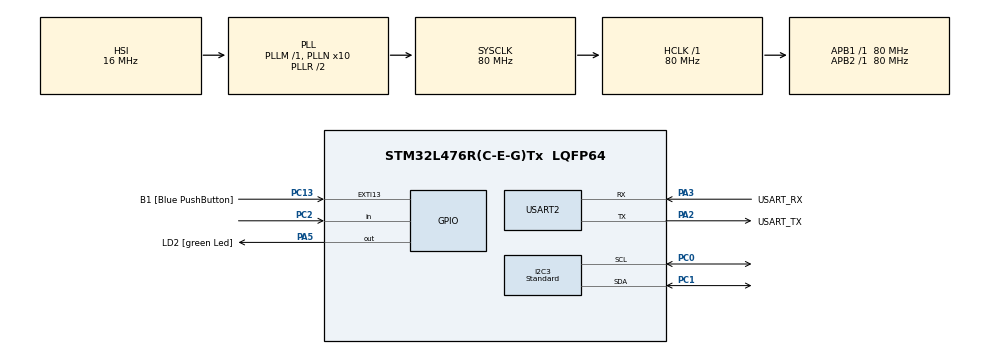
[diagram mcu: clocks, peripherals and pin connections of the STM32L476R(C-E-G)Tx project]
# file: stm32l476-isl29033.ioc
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I2C3.I2C_Speed_Mode=I2C_Standard
I2C3.Timing=0x10909CEC
Mcu.Family=STM32L4
Mcu.Name=STM32L476R(C-E-G)Tx
Mcu.Package=LQFP64
NVIC.PriorityGroup=NVIC_PRIORITYGROUP_4
PA13\ (JTMS-SWDIO).GPIO_Label=TMS
PA13\ (JTMS-SWDIO).Mode=Serial_Wire
PA13\ (JTMS-SWDIO).Signal=SYS_JTMS-SWDIO
PA14\ (JTCK-SWCLK).GPIO_Label=TCK
PA14\ (JTCK-SWCLK).Mode=Serial_Wire
PA14\ (JTCK-SWCLK).Signal=SYS_JTCK-SWCLK
PA2.GPIO_Label=USART_TX
PA2.GPIO_Mode=GPIO_MODE_AF_PP
PA2.GPIO_PuPd=GPIO_NOPULL
PA2.GPIO_Speed=GPIO_SPEED_FREQ_VERY_HIGH
PA2.Mode=Asynchronous
PA2.Signal=USART2_TX
PA3.GPIO_Label=USART_RX
PA3.GPIO_Mode=GPIO_MODE_AF_PP
PA3.GPIO_PuPd=GPIO_NOPULL
PA3.GPIO_Speed=GPIO_SPEED_FREQ_VERY_HIGH
PA3.Mode=Asynchronous
PA3.Signal=USART2_RX
PA5.GPIO_Label=LD2 [green Led]
PA5.GPIO_ModeDefaultOutputPP=GPIO_MODE_OUTPUT_PP
PA5.GPIO_PuPd=GPIO_NOPULL
PA5.GPIO_Speed=GPIO_SPEED_FREQ_LOW
PA5.Signal=GPIO_Output
PB3\ (JTDO-TRACESWO).GPIO_Label=SWO
PB3\ (JTDO-TRACESWO).Signal=SYS_JTDO-SWO
PC0.Mode=I2C
PC0.Signal=I2C3_SCL
PC1.Mode=I2C
PC1.Signal=I2C3_SDA
PC13.GPIO_Label=B1 [Blue PushButton]
PC13.GPIO_ModeDefaultEXTI=GPIO_MODE_IT_FALLING
PC13.GPIO_PuPd=GPIO_NOPULL
PC13.Signal=GPXTI13
PC14-OSC32_IN\ (PC14).Mode=LSE-External-Oscillator
PC14-OSC32_IN\ (PC14).Signal=RCC_OSC32_IN
PC15-OSC32_OUT\ (PC15).Mode=LSE-External-Oscillator
PC15-OSC32_OUT\ (PC15).Signal=RCC_OSC32_OUT
PC2.GPIO_PuPd=GPIO_PULLUP
PC2.Signal=GPIO_Input
PH0-OSC_IN\ (PH0).Signal=RCC_OSC_IN
PH1-OSC_OUT\ (PH1).Signal=RCC_OSC_OUT
ProjectManager.HeapSize=0x200
ProjectManager.StackSize=0x400
ProjectManager.TargetToolchain=STM32CubeIDE
RCC.ADCFreq_Value=64000000
RCC.AHBFreq_Value=80000000
RCC.APB1Freq_Value=80000000
RCC.APB1TimFreq_Value=80000000
RCC.APB2Freq_Value=80000000
RCC.APB2TimFreq_Value=80000000
RCC.CortexFreq_Value=80000000
RCC.HCLKFreq_Value=80000000
RCC.HSE_VALUE=8000000
RCC.HSI_VALUE=16000000
RCC.MSI_VALUE=4000000
RCC.PLLN=10
RCC.PLLSourceVirtual=RCC_PLLSOURCE_HSI
RCC.PREFETCH_ENABLE=1
RCC.SYSCLKFreq_VALUE=80000000
RCC.SYSCLKSource=RCC_SYSCLKSOURCE_PLLCLK
RCC.USBFreq_Value=64000000
RCC.VCOOutputFreq_Value=160000000
USART2.VirtualMode-Asynchronous=VM_ASYNC
board=NUCLEO-L476RG

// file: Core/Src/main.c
/* USER CODE BEGIN Header */
/**
  ******************************************************************************
  * @file           : main.c
  * @brief          : Main program body
  ******************************************************************************
  * @attention
  *
  * <h2><center>&copy; Copyright (c) 2021 STMicroelectronics.
  * All rights reserved.</center></h2>
  *
  * This software component is licensed by ST under BSD 3-Clause license,
  * the "License"; You may not use this file except in compliance with the
  * License. You may obtain a copy of the License at:
  *                        opensource.org/licenses/BSD-3-Clause
  *
  ******************************************************************************
  */
/* USER CODE END Header */
#include "main.h"

/* USER CODE BEGIN Includes */
#include "isl29033.h"
#include "string.h"
/* USER CODE END Includes */

/* USER CODE BEGIN PTD */

#define RESOLUTION 16

#if RESOLUTION == 16
#define DELAY_MSB 100

#elif RESOLUTION == 12
#define DELAY_MSB 6

#else
#define DELAY_MSB 1

#endif
/* USER CODE END PTD */

I2C_HandleTypeDef hi2c3;

UART_HandleTypeDef huart2;

void SystemClock_Config(void);
static void MX_GPIO_Init(void);
static void MX_USART2_UART_Init(void);
static void MX_I2C3_Init(void);

/* USER CODE BEGIN 0 */
void convert_uint32_to_charArray(uint32_t number, uint8_t *mass, uint16_t startMass, uint16_t len)
{
	for (uint16_t i = 0; i < len; i++)
	{
		mass[len - 1 - i + startMass] = number % 10 + 48;
		number = number / 10;
	}
}
/* USER CODE END 0 */

int main(void)
{

  /* MCU Configuration--------------------------------------------------------*/

  /* Reset of all peripherals, Initializes the Flash interface and the Systick. */
  HAL_Init();

  /* Configure the system clock */
  SystemClock_Config();

  /* Initialize all configured peripherals */
  MX_GPIO_Init();
  MX_USART2_UART_Init();
  MX_I2C3_Init();
  /* USER CODE BEGIN 2 */
  ISL29033_init(ALS_CONTINUOUS,CYCLES_16,RESOLUTION_16b,LUXRANGE_3);
  ISL29033_thresholds(1000,60000);
  uint16_t data=0;
  char mass[7]={"000000\n"};
  /* USER CODE END 2 */

  /* Infinite loop */
  /* USER CODE BEGIN WHILE */
  while (1)
  {

	  if(ISL29033_intRead()==0)
	  {
		  HAL_UART_Transmit(&huart2,(uint8_t*)"int\n",4,10);
		  ISL29033_Clearflag();
	  }
	  data=ISL29033_DataReadADC();
	 // ISL29033_ADCtoLUX(Resolution_16b,Luxrange_3,&data);
	  convert_uint32_to_charArray(data,(uint8_t*)mass,0,6);
	  HAL_UART_Transmit(&huart2,(uint8_t*)mass,7,10);
	  HAL_Delay(DELAY_MSB);
    /* USER CODE END WHILE */

  }
}

void SystemClock_Config(void)
{
  RCC_OscInitTypeDef RCC_OscInitStruct = {0};
  RCC_ClkInitTypeDef RCC_ClkInitStruct = {0};
  RCC_PeriphCLKInitTypeDef PeriphClkInit = {0};

  /** Initializes the RCC Oscillators according to the specified parameters
  * in the RCC_OscInitTypeDef structure.
  */
  RCC_OscInitStruct.OscillatorType = RCC_OSCILLATORTYPE_HSI;
  RCC_OscInitStruct.HSIState = RCC_HSI_ON;
  RCC_OscInitStruct.HSICalibrationValue = RCC_HSICALIBRATION_DEFAULT;
  RCC_OscInitStruct.PLL.PLLState = RCC_PLL_ON;
  RCC_OscInitStruct.PLL.PLLSource = RCC_PLLSOURCE_HSI;
  RCC_OscInitStruct.PLL.PLLM = 1;
  RCC_OscInitStruct.PLL.PLLN = 10;
  RCC_OscInitStruct.PLL.PLLP = RCC_PLLP_DIV7;
  RCC_OscInitStruct.PLL.PLLQ = RCC_PLLQ_DIV2;
  RCC_OscInitStruct.PLL.PLLR = RCC_PLLR_DIV2;
  if (HAL_RCC_OscConfig(&RCC_OscInitStruct) != HAL_OK)
  {
    Error_Handler();
  }
  /** Initializes the CPU, AHB and APB buses clocks
  */
  RCC_ClkInitStruct.ClockType = RCC_CLOCKTYPE_HCLK|RCC_CLOCKTYPE_SYSCLK
                              |RCC_CLOCKTYPE_PCLK1|RCC_CLOCKTYPE_PCLK2;
  RCC_ClkInitStruct.SYSCLKSource = RCC_SYSCLKSOURCE_PLLCLK;
  RCC_ClkInitStruct.AHBCLKDivider = RCC_SYSCLK_DIV1;
  RCC_ClkInitStruct.APB1CLKDivider = RCC_HCLK_DIV1;
  RCC_ClkInitStruct.APB2CLKDivider = RCC_HCLK_DIV1;

  if (HAL_RCC_ClockConfig(&RCC_ClkInitStruct, FLASH_LATENCY_4) != HAL_OK)
  {
    Error_Handler();
  }
  PeriphClkInit.PeriphClockSelection = RCC_PERIPHCLK_USART2|RCC_PERIPHCLK_I2C3;
  PeriphClkInit.Usart2ClockSelection = RCC_USART2CLKSOURCE_PCLK1;
  PeriphClkInit.I2c3ClockSelection = RCC_I2C3CLKSOURCE_PCLK1;
  if (HAL_RCCEx_PeriphCLKConfig(&PeriphClkInit) != HAL_OK)
  {
    Error_Handler();
  }
  /** Configure the main internal regulator output voltage
  */
  if (HAL_PWREx_ControlVoltageScaling(PWR_REGULATOR_VOLTAGE_SCALE1) != HAL_OK)
  {
    Error_Handler();
  }
}

static void MX_I2C3_Init(void)
{

  hi2c3.Instance = I2C3;
  hi2c3.Init.Timing = 0x10909CEC;
  hi2c3.Init.OwnAddress1 = 0;
  hi2c3.Init.AddressingMode = I2C_ADDRESSINGMODE_7BIT;
  hi2c3.Init.DualAddressMode = I2C_DUALADDRESS_DISABLE;
  hi2c3.Init.OwnAddress2 = 0;
  hi2c3.Init.OwnAddress2Masks = I2C_OA2_NOMASK;
  hi2c3.Init.GeneralCallMode = I2C_GENERALCALL_DISABLE;
  hi2c3.Init.NoStretchMode = I2C_NOSTRETCH_DISABLE;
  if (HAL_I2C_Init(&hi2c3) != HAL_OK)
  {
    Error_Handler();
  }
  /** Configure Analogue filter
  */
  if (HAL_I2CEx_ConfigAnalogFilter(&hi2c3, I2C_ANALOGFILTER_ENABLE) != HAL_OK)
  {
    Error_Handler();
  }
  /** Configure Digital filter
  */
  if (HAL_I2CEx_ConfigDigitalFilter(&hi2c3, 0) != HAL_OK)
  {
    Error_Handler();
  }

}

static void MX_USART2_UART_Init(void)
{

  huart2.Instance = USART2;
  huart2.Init.BaudRate = 115200;
  huart2.Init.WordLength = UART_WORDLENGTH_8B;
  huart2.Init.StopBits = UART_STOPBITS_1;
  huart2.Init.Parity = UART_PARITY_NONE;
  huart2.Init.Mode = UART_MODE_TX_RX;
  huart2.Init.HwFlowCtl = UART_HWCONTROL_NONE;
  huart2.Init.OverSampling = UART_OVERSAMPLING_16;
  huart2.Init.OneBitSampling = UART_ONE_BIT_SAMPLE_DISABLE;
  huart2.AdvancedInit.AdvFeatureInit = UART_ADVFEATURE_NO_INIT;
  if (HAL_UART_Init(&huart2) != HAL_OK)
  {
    Error_Handler();
  }

}

static void MX_GPIO_Init(void)
{
  GPIO_InitTypeDef GPIO_InitStruct = {0};

  /* GPIO Ports Clock Enable */
  __HAL_RCC_GPIOC_CLK_ENABLE();
  __HAL_RCC_GPIOH_CLK_ENABLE();
  __HAL_RCC_GPIOA_CLK_ENABLE();
  __HAL_RCC_GPIOB_CLK_ENABLE();

  /*Configure GPIO pin Output Level */
  HAL_GPIO_WritePin(LD2_GPIO_Port, LD2_Pin, GPIO_PIN_RESET);

  /*Configure GPIO pin : B1_Pin */
  GPIO_InitStruct.Pin = B1_Pin;
  GPIO_InitStruct.Mode = GPIO_MODE_IT_FALLING;
  GPIO_InitStruct.Pull = GPIO_NOPULL;
  HAL_GPIO_Init(B1_GPIO_Port, &GPIO_InitStruct);

  /*Configure GPIO pin : PC2 */
  GPIO_InitStruct.Pin = GPIO_PIN_2;
  GPIO_InitStruct.Mode = GPIO_MODE_INPUT;
  GPIO_InitStruct.Pull = GPIO_PULLUP;
  HAL_GPIO_Init(GPIOC, &GPIO_InitStruct);

  /*Configure GPIO pin : LD2_Pin */
  GPIO_InitStruct.Pin = LD2_Pin;
  GPIO_InitStruct.Mode = GPIO_MODE_OUTPUT_PP;
  GPIO_InitStruct.Pull = GPIO_NOPULL;
  GPIO_InitStruct.Speed = GPIO_SPEED_FREQ_LOW;
  HAL_GPIO_Init(LD2_GPIO_Port, &GPIO_InitStruct);

}

void Error_Handler(void)
{
  __disable_irq();
  while (1)
  {
  }
}

/************************ (C) COPYRIGHT STMicroelectronics *****END OF FILE****/
